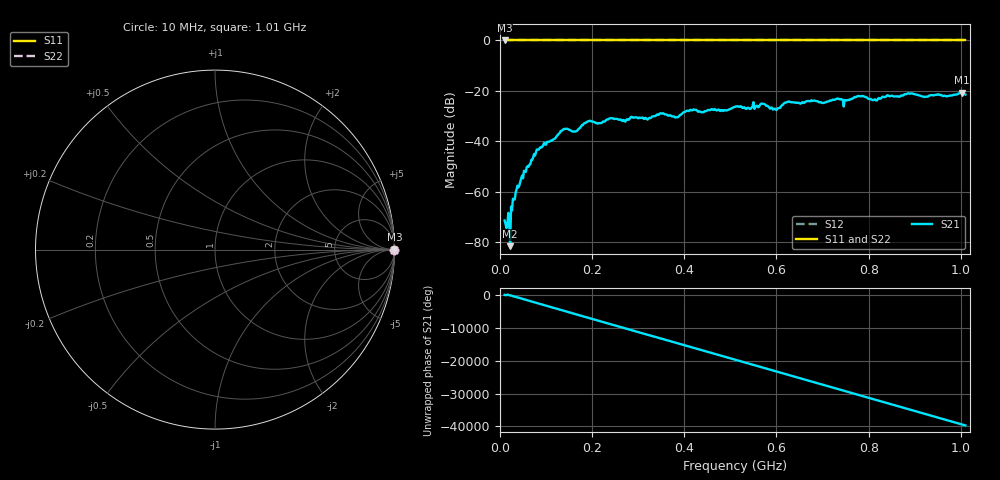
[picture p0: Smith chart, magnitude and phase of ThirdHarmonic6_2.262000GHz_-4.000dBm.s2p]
! 8/17/2025 2:47:50 AM
! C:\ANRITSUVNA\TEMP\TEMP.S2P
! CHANNEL.1
! TR.MEASUREMENT
! RAW.DATA
! RF.CORRECTION.OFF
! AVERAGING.OFF
! IF.BANDWIDTH: 5KHZ
! SWEEPTYPE:  FREQ.SWEEP(Linear)
! Reference Plane Port Info
! PORT:  PORT1  PORT2
! DISTANCE:  0  m  0  m
! TIME:  0  s  0  s
! PHASE.OFFSET:  0  deg.  0  deg.
! LOSS:  0  dB  0  dB
! REF.LOSS:  0  dB  0  dB
! REF.FREQ:  0  Hz  0  Hz
! Power Info
! POWER:  -20  dBm  -20  dBm
! EFF.POWER:  -20  dBm  -20  dBm
! SOURCE.ATTEN:  0  dB  0  dB
! TEST.ATTEN:  0  dB  0  dB
# GHZ S RI R 50.0
! FREQ.GHZ  S11RE  S11IM  S21RE  S21IM  S12RE  S12IM  S22RE  S22IM
!; PortSelection: Port_12
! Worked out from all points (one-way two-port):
!   501 points, 10 MHz to 1.01 GHz, reference 50 ohm
!   highest |S21| = -20.75 dB at 1.002 GHz (marker M1); lowest = -81.7 dB at 22 MHz (marker M2)
!   lowest |S11| = 0.0 dB at 10 MHz (marker M3)
!   |S11| at or under -10 dB: nowhere
!   |S22| runs from 0.0 to 0.0 dB; largest |S21 - S12| = 1.1
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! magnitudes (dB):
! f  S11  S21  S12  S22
! 10 MHz  0.0  -71.5  0.0  0.0
! 18 MHz  0.0  -68.5  0.0  0.0
! 22 MHz  0.0  -81.7  0.0  0.0
! 28 MHz  0.0  -62.9  0.0  0.0
! 38 MHz  0.0  -57.6  0.0  0.0
! 78 MHz  0.0  -44.4  0.0  0.0
! 136 MHz  0.0  -35.6  0.0  0.0
! 162 MHz  0.0  -36.2  0.0  0.0
! 178 MHz  0.0  -33.6  0.0  0.0
! 344 MHz  0.0  -29.5  0.0  0.0
! 384 MHz  0.0  -30.5  0.0  0.0
! 416 MHz  0.0  -27.8  0.0  0.0
! 510 MHz  0.0  -26.3  0.0  0.0
! 570 MHz  0.0  -25.1  0.0  0.0
! 596 MHz  0.0  -27.1  0.0  0.0
! 624 MHz  0.0  -24.5  0.0  0.0
! 678 MHz  0.0  -23.9  0.0  0.0
! 782 MHz  0.0  -22.1  0.0  0.0
! 814 MHz  0.0  -23.4  0.0  0.0
! 844 MHz  0.0  -22.0  0.0  0.0
! 1.002 GHz  0.0  -20.7  0.0  0.0
! 1.01 GHz  0.0  -21.5  0.0  0.0
